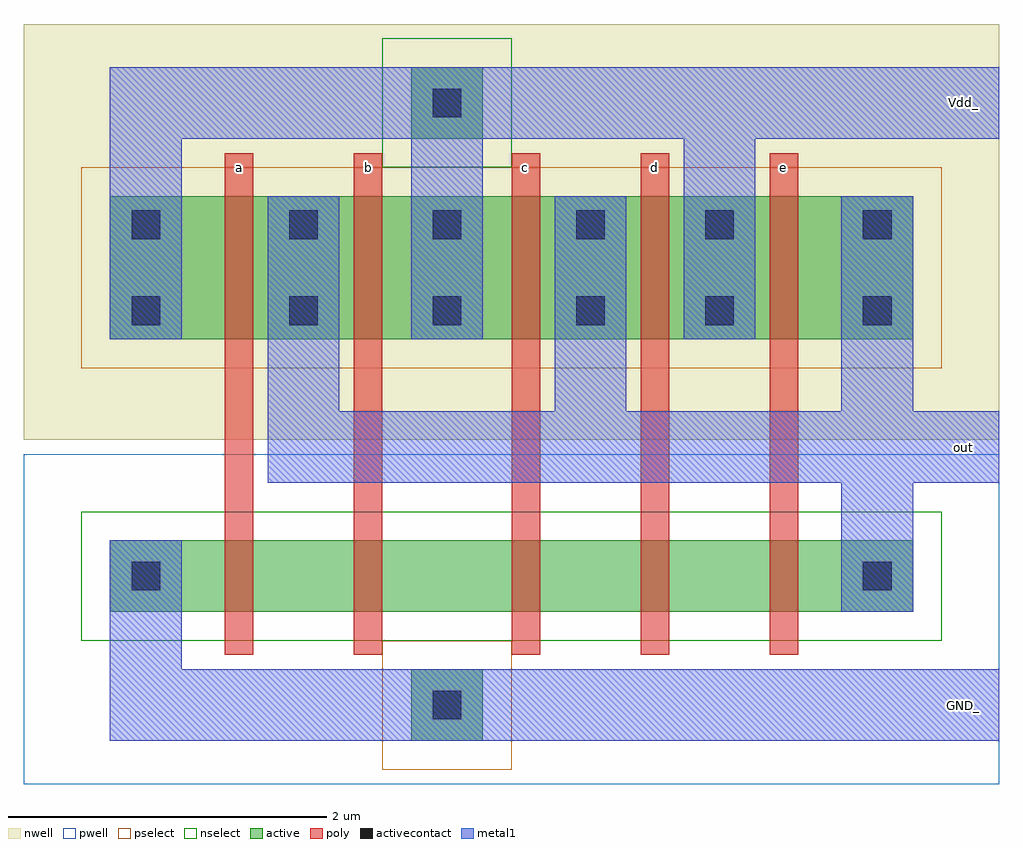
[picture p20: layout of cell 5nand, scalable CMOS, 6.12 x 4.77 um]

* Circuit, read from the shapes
.subckt 5nand GND_ Vdd_ a b c d e out
M1 n1 a GND_ GND_ nfet w=0.45u l=0.18u
M2 n2 b n1 GND_ nfet w=0.45u l=0.18u
M3 n3 c n2 GND_ nfet w=0.45u l=0.18u
M4 n4 d n3 GND_ nfet w=0.45u l=0.18u
M5 out e n4 GND_ nfet w=0.45u l=0.18u
M6 out a Vdd_ Vdd_ pfet w=0.9u l=0.18u
M7 Vdd_ b out Vdd_ pfet w=0.9u l=0.18u
M8 out c Vdd_ Vdd_ pfet w=0.9u l=0.18u
M9 Vdd_ d out Vdd_ pfet w=0.9u l=0.18u
M10 out e Vdd_ Vdd_ pfet w=0.9u l=0.18u
.ends

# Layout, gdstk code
import gdstk
lib = gdstk.Library(unit=1e-6, precision=1e-09)
def R(c, l, rs):  # rectangles x0, y0, x1, y1
    for r in rs: c.add(gdstk.rectangle(r[:2], r[2:], *l))
def A(c, l, x, y, w, h, nx, ny, dx, dy):  # array of equal rectangles
    R(c, l, [(x+i*dx, y+j*dy, x+i*dx+w, y+j*dy+h) for i in range(nx) for j in range(ny)])
pwell = (41, 0)
nwell = (42, 0)
active = (43, 0)
pselect = (44, 0)
nselect = (45, 0)
poly = (46, 0)
activecontact = (48, 0)
metal1 = (49, 0)

c_5nand = lib.new_cell('5nand')
R(c_5nand, pwell, [(6.48,2.7,12.6,4.77)])
R(c_5nand, nwell, [(6.48,4.86,12.6,7.47)])
R(c_5nand, active, [(8.91,2.97,9.36,3.42), (7.02,3.78,12.06,4.23), (7.02,5.49,12.06,6.39), (8.91,6.75,9.36,7.2)])
R(c_5nand, pselect, [(8.73,2.79,9.54,3.6), (6.84,5.31,12.24,6.57)])
R(c_5nand, nselect, [(6.84,3.6,12.24,4.41), (8.73,6.57,9.54,7.38)])
A(c_5nand, poly, 9.54, 3.51, 0.18, 3.15, 3, 1, 0.81, 0)
R(c_5nand, poly, [(7.74,3.51,7.92,6.66), (8.55,3.51,8.73,6.66)])
A(c_5nand, activecontact, 8.145, 5.58, 0.18, 0.18, 3, 2, 0.9, 0.54)
R(c_5nand, activecontact, [(9.045,3.105,9.225,3.285), (7.155,3.915,7.335,4.095), (11.745,3.915,11.925,4.095), (7.155,5.58,7.335,5.76), (10.755,5.58,10.935,5.76), (11.745,5.58,11.925,5.76), (7.155,6.12,7.335,6.3), (10.755,6.12,10.935,6.3), (11.745,6.12,11.925,6.3), (9.045,6.885,9.225,7.065)])
A(c_5nand, metal1, 8.01, 5.04, 0.45, 1.35, 3, 1, 1.8, 0)
R(c_5nand, metal1, [(7.02,2.97,12.6,3.42), (7.02,3.42,7.47,4.23), (11.61,3.78,12.06,4.59), (8.01,4.59,12.6,5.04), (7.02,5.49,7.47,6.75), (8.91,5.49,9.36,6.75), (10.62,5.49,11.07,6.75), (7.02,6.75,12.6,7.2)])
c_5nand.add(gdstk.Label('b', (8.64,6.57), layer=46, texttype=0))
c_5nand.add(gdstk.Label('c', (9.63,6.57), layer=46, texttype=0))
c_5nand.add(gdstk.Label('a', (7.83,6.57), layer=46, texttype=0))
c_5nand.add(gdstk.Label('d', (10.44,6.57), layer=46, texttype=0))
c_5nand.add(gdstk.Label('e', (11.25,6.57), layer=46, texttype=0))
c_5nand.add(gdstk.Label('Vdd_', (12.375,6.975), layer=49, texttype=0))
c_5nand.add(gdstk.Label('out', (12.375,4.815), layer=49, texttype=0))
c_5nand.add(gdstk.Label('GND_', (12.375,3.195), layer=49, texttype=0))

lib.write_gds('5nand.gds')
